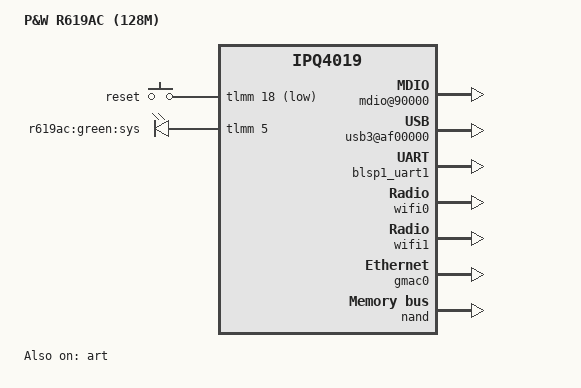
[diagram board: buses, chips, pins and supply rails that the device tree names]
// SPDX-License-Identifier: GPL-2.0-or-later OR MIT

#include "qcom-ipq4019.dtsi"
#include <dt-bindings/gpio/gpio.h>
#include <dt-bindings/input/input.h>

/ {
	model = "P&W R619AC (128M)";
	compatible = "p2w,r619ac-128m", "qcom,ipq4019";

	aliases {
		serial0 = &blsp1_uart1;
		led-boot = &led_sys;
		led-failsafe = &led_sys;
		led-running = &led_sys;
		led-upgrade = &led_sys;
		label-mac-device = &gmac0;
	};

	art: art@100000 {
		compatible = "qcom,msm-part";
		reg = <0x100000 0x10000>;
		#address-cells = <1>;
		#size-cells = <1>;
		status = "okay";

		caldata_wifi0: caldata@0 {
			reg = <0x0 0x1000>;
		};
		caldata_wifi1: caldata@1000 {
			reg = <0x1000 0x1000>;
		};
		macaddr_wifi0: mac@6 {
			reg = <0x6 0x6>;
		};
		macaddr_wifi1: mac@c {
			reg = <0xc 0x6>;
		};
	};

	soc {
		rng@22000 {
			status = "okay";
		};

		mdio@90000 {
			status = "okay";
			pinctrl-0 = <&mdio_pins>;
			pinctrl-names = "default";
		};

		ess-psgmii@98000 {
			status = "okay";
		};

		tcsr@1949000 {
			compatible = "qcom,tcsr";
			reg = <0x1949000 0x100>;
			qcom,wifi_glb_cfg = <TCSR_WIFI_GLB_CFG>;
		};

		tcsr@194b000 {
			compatible = "qcom,tcsr";
			reg = <0x194b000 0x100>;
			qcom,usb-hsphy-mode-select = <TCSR_USB_HSPHY_HOST_MODE>;
		};

		ess_tcsr@1953000 {
			compatible = "qcom,tcsr";
			reg = <0x1953000 0x1000>;
			qcom,ess-ifi_mode;
			qcom,ess-cfg_rm_ddr_set;
		};

		usb3@af00000 {
			status = "okay";
		};

		blsp1_uart1: serial@78b0000 {
			pinctrl-0 = <&uart1_pins>;
			pinctrl-names = "default";
			status = "okay";
		};
	};

	keys {
		compatible = "gpio-keys";

		reset {
			label = "reset";
			gpios = <&tlmm 18 GPIO_ACTIVE_LOW>;
			linux,code = <KEY_RESTART>;
		};
	};

	leds {
		compatible = "gpio-leds";

		led_sys: sys {
			label = "r619ac:green:sys";
			gpios = <&tlmm 5 GPIO_ACTIVE_HIGH>;
		};
	};

	wifi0 {
		nvmem-cells = <&caldata_wifi0>, <&macaddr_wifi0>;
		nvmem-cell-names = "calibration", "mac-address";
		status = "okay";
	};

	wifi1 {
		nvmem-cells = <&caldata_wifi1>, <&macaddr_wifi1>;
		nvmem-cell-names = "calibration", "mac-address";
		status = "okay";
	};
};

&gmac0 {
	status = "okay";
};

&nand {
	status = "okay";

	partitions {
		compatible = "fixed-partitions";
		#address-cells = <1>;
		#size-cells = <1>;

		partition@0 {
			label = "sbl1";
			reg = <0x0 0x400000>;
			read-only;
		};

		partition@400000 {
			label = "sbl1_1";
			reg = <0x400000 0x400000>;
			read-only;
		};

		partition@800000 {
			label = "cdt";
			reg = <0x800000 0x200000>;
			read-only;
		};

		partition@a00000 {
			label = "cdt_1";
			reg = <0xa00000 0x200000>;
			read-only;
		};

		partition@c00000 {
			label = "qsee";
			reg = <0xc00000 0x500000>;
			read-only;
		};

		partition@1100000 {
			label = "qsee_1";
			reg = <0x1100000 0x500000>;
			read-only;
		};

		partition@1600000 {
			label = "devcfg";
			reg = <0x1600000 0x200000>;
			read-only;
		};

		partition@1800000 {
			label = "devcfg_1";
			reg = <0x1800000 0x200000>;
			read-only;
		};

		partition@1a00000 {
			label = "apdp";
			reg = <0x1a00000 0x200000>;
			read-only;
		};

		partition@1c00000 {
			label = "apdp_1";
			reg = <0x1c00000 0x200000>;
			read-only;
		};

		partition@1e00000 {
			label = "rpm";
			reg = <0x1e00000 0x200000>;
			read-only;
		};

		partition@2000000 {
			label = "rpm_1";
			reg = <0x2000000 0x200000>;
			read-only;
		};

		partition@2200000 {
			label = "modem";
			reg = <0x2200000 0x600000>;
			read-only;
		};

		partition@2800000 {
			label = "modem_1";
			reg = <0x2800000 0x600000>;
			read-only;
		};

		partition@2e00000 {
			label = "BL";
			reg = <0x2e00000 0x800000>;
			read-only;
		};

		partition@3600000 {
			label = "BL_1";
			reg = <0x3600000 0x800000>;
			read-only;
		};

		partition@3e00000 {
			label = "u-boot-env";
			reg = <0x3e00000 0x200000>;
		};

		partition@4000000 {
			label = "art";
			reg = <0x4000000 0x100000>;
			read-only;
		};

		partition@4100000 {
			label = "ubi";
			reg = <0x4100000>;
		};
	};
};
